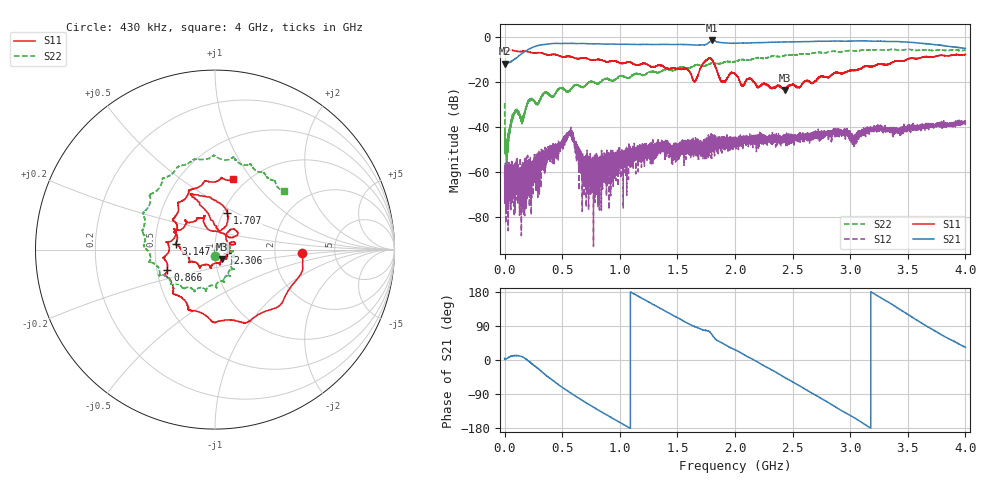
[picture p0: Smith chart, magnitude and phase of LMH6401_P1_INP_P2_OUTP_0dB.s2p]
!Keysight Technologies N9917A: A.08.18
!Date: Saturday, 27 May 2023 16:33:45
!Timezone: (GMT-07:00) Mountain Time (US & Canada)
!Model: N9917A
!Serial: MY52401314
!GPS Latitude:
!GPS Longitude:
!GPS TimeStamp: 0001-01-01 00:00:00Z
!GPS Seconds Since Last Read: 0
!CHECKSUM:1666590423
!Correction: S11(ON U)S21(ON U)S12(ON U)S22(ON U)
!S2P File: Measurements:S11,S21,S12,S22:
# Hz S DB R 50
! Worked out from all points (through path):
!   10000 points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, 430 kHz to 4 GHz, reference 50 ohm
!   highest |S21| = -1.64 dB at 1.803 GHz (marker M1); lowest = -11.9 dB at 430 kHz (marker M2)
!   group delay of S21, straight-line fit = 489 ps
!   lowest |S11| = -23.6 dB at 2.432 GHz (marker M3), VSWR 1.14, Z = 53.5 - j5.83 ohm
!   |S11| at or under -10 dB: 728.052 MHz to 731.1427 MHz (3.091 MHz wide, 0.424 % of centre); 736.2 MHz to 1.763 GHz (1.027 GHz wide, 82.2 % of centre); 1.797 GHz to 3.496 GHz (1.698 GHz wide, 64.2 % of centre)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
!   |S22| runs from -56.1 to -5.6 dB; largest |S21 - S12| = 0.83
!   S11 on the Smith chart (normalised r, x): 430 kHz: 2.89, -0.14; 866 MHz: 0.57, -0.14; 1.707 GHz: 1.04, +0.45; 2.306 GHz: 1.15, -0.04; 3.147 GHz: 0.64, +0.05; 4 GHz: 0.87, +0.81
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429997  -6.24 -2.2  -11.94 4.2  -60.33 55.7  -29.46 -94.6
2.242983e7  -6.19 -6.2  -11.71 4.4  -63.15 -21.3  -47.78 -96.7
9.32293e7  -6.31 -20.6  -9.76 11.8  -57.42 94.0  -32.94 60.9
1.452289e8  -6.55 -34.4  -7.71 9.4  -60.71 161.5  -35.48 74.7
2.180284e8  -6.85 -47.4  -5.36 -5.3  -68.48 151.2  -28.11 53.7
3.020277e8  -7.08 -66.5  -3.75 -25.5  -69.96 111.8  -28.57 30.8
5.604258e8  -8.70 -113.7  -2.93 -84.2  -42.28 -19.5  -24.18 6.9
6.67225e8  -9.60 -131.2  -3.01 -105.1  -56.58 -71.3  -22.39 5.9
8.660235e8  -10.82 -157.1  -3.24 -141.3  -53.50 -17.1  -18.84 -21.2
1.33362e9  -12.68 135.5  -3.41 139.0  -50.23 -64.2  -15.91 -67.7
1.648418e9  -19.62 90.6  -3.66 88.4  -46.67 -99.6  -12.87 -102.8
1.707217e9  -13.27 72.1  -3.66 81.1  -51.88 -109.1  -12.85 -104.2
1.803216e9  -10.32 111.2  -1.64 65.6  -44.92 -106.9  -11.73 -116.2
1.890416e9  -19.87 64.3  -2.64 44.6  -44.84 -133.3  -11.61 -126.3
2.000415e9  -16.43 49.4  -2.89 26.8  -46.89 -128.2  -10.97 -136.8
2.305613e9  -22.84 -15.2  -2.46 -23.9  -44.48 -160.8  -8.87 -168.6
2.431612e9  -23.65 -55.6  -2.33 -45.9  -44.95 -171.5  -8.33 179.6
2.66681e9  -20.71 -113.7  -2.10 -87.2  -45.54 166.1  -7.41 156.4
3.147206e9  -13.10 171.2  -1.87 -174.2  -42.11 108.3  -5.92 111.3
3.333605e9  -12.20 148.4  -2.11 152.3  -41.34 77.9  -5.80 92.8
3.621203e9  -9.17 115.1  -2.95 97.1  -39.77 52.2  -5.85 68.3
4e9  -7.89 75.3  -5.16 33.6  -37.93 2.8  -5.91 40.4
